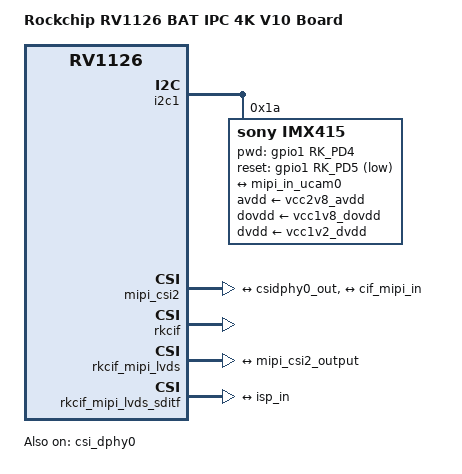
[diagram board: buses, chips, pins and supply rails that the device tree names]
// SPDX-License-Identifier: (GPL-2.0+ OR MIT)
/*
 * Copyright (c) 2020 Rockchip Electronics Co., Ltd.
 */

/dts-v1/;
#include "rv1126-bat-ipc-v10.dts"

/ {
	model = "Rockchip RV1126 BAT IPC 4K V10 Board";
	compatible = "rockchip,rv1126-bat-ipc-4k-v10", "rockchip,rv1126";
};

&csi_dphy0 {
	status = "okay";

	ports {
		#address-cells = <1>;
		#size-cells = <0>;
		port@0 {
			reg = <0>;
			#address-cells = <1>;
			#size-cells = <0>;

			mipi_in_ucam0: endpoint@1 {
				reg = <1>;
				remote-endpoint = <&ucam_out0>;
				data-lanes = <1 2 3 4>;
			};
		};
		port@1 {
			reg = <1>;
			#address-cells = <1>;
			#size-cells = <0>;

			csidphy0_out: endpoint@0 {
				reg = <0>;
				remote-endpoint = <&mipi_csi2_input>;
			};
		};
	};
};

&i2c1 {
	status = "okay";

	/delete-node/ sc210iot@32;

	imx415: imx415@1a {
		compatible = "sony,imx415";
		reg = <0x1a>;
		clocks = <&cru CLK_MIPICSI_OUT>;
		clock-names = "xvclk";
		power-domains = <&power RV1126_PD_VI>;
		avdd-supply = <&vcc2v8_avdd>;
		dovdd-supply = <&vcc1v8_dovdd>;
		dvdd-supply = <&vcc1v2_dvdd>;
		pwd-gpios = <&gpio1 RK_PD4 GPIO_ACTIVE_HIGH>;
		reset-gpios = <&gpio1 RK_PD5 GPIO_ACTIVE_LOW>;
		rockchip,camera-module-index = <1>;
		rockchip,camera-module-facing = "front";
		rockchip,camera-module-name = "YT10092";
		rockchip,camera-module-lens-name = "IR0147-36IRC-8M-F20";
		ir-cut = <&cam_ircut0>;
		port {
			ucam_out0: endpoint {
				remote-endpoint = <&mipi_in_ucam0>;
				data-lanes = <1 2 3 4>;
			};
		};
	};
};

&isp_reserved {
	size = <0x0AC00000>;
};

&mipi_csi2 {
	status = "okay";

	ports {
		#address-cells = <1>;
		#size-cells = <0>;

		port@0 {
			reg = <0>;
			#address-cells = <1>;
			#size-cells = <0>;

			mipi_csi2_input: endpoint@1 {
				reg = <1>;
				remote-endpoint = <&csidphy0_out>;
				data-lanes = <1 2 3 4>;
			};
		};

		port@1 {
			reg = <1>;
			#address-cells = <1>;
			#size-cells = <0>;

			mipi_csi2_output: endpoint@0 {
				reg = <0>;
				remote-endpoint = <&cif_mipi_in>;
				data-lanes = <1 2 3 4>;
			};
		};
	};
};

&rkcif {
	status = "okay";
};

&rkcif_mipi_lvds {
	status = "okay";

	port {
		/* MIPI CSI-2 endpoint */
		cif_mipi_in: endpoint {
			remote-endpoint = <&mipi_csi2_output>;
			data-lanes = <1 2 3 4>;
		};
	};
};

&rkcif_mipi_lvds_sditf {
	status = "okay";

	port {
		/* MIPI CSI-2 endpoint */
		mipi_lvds_sditf: endpoint {
			remote-endpoint = <&isp_in>;
			data-lanes = <1 2 3 4>;
		};
	};
};

&rkisp_thunderboot {
	reg = <0x8000000 (128 * 0x00100000)>;
};

&isp_in {
	remote-endpoint = <&mipi_lvds_sditf>;
};
